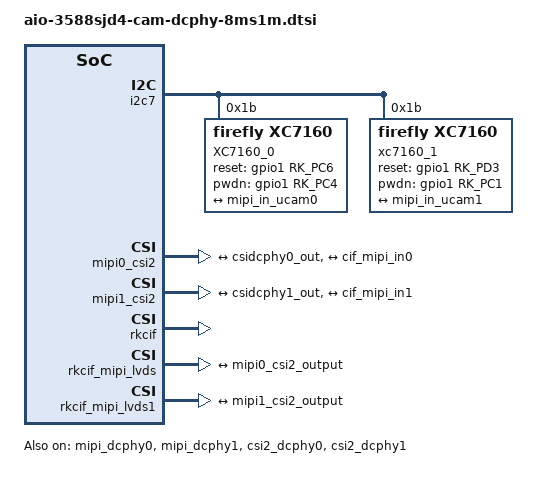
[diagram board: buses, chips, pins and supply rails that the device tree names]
// SPDX-License-Identifier: (GPL-2.0+ OR MIT)
/*
 * Copyright (c) 2021 Rockchip Electronics Co., Ltd.
 *
 */

/ {
	cam_ircut0: cam_ircut {
		status = "disabled";
		compatible = "rockchip,ircut";
		ircut-open-gpios = <&gpio4 RK_PA6 GPIO_ACTIVE_HIGH>;
		ircut-close-gpios  = <&gpio4 RK_PA7 GPIO_ACTIVE_HIGH>;
		rockchip,camera-module-index = <0>;
		rockchip,camera-module-facing = "back";
	};
	vcc_mipidphy0: vcc-mipidcphy0-regulator {
		status = "disabled";
		compatible = "regulator-fixed";
		gpio = <&gpio1 RK_PB1 GPIO_ACTIVE_HIGH>;
		pinctrl-names = "default";
		pinctrl-0 = <&mipidphy0_pwr>;
		regulator-name = "vcc_mipidphy0";
		enable-active-high;
	};
};

&mipi_dcphy0 {
        status = "okay";
};

&mipi_dcphy1 {
        status = "okay";
};

&csi2_dcphy0 {
	status = "okay";

        ports {
                #address-cells = <1>;
                #size-cells = <0>;
                port@0 {
                        reg = <0>;
                        #address-cells = <1>;
                        #size-cells = <0>;

                        mipi_in_ucam0: endpoint@1 {
                                reg = <1>;
                                remote-endpoint = <&xc7160_out0>;
                                data-lanes = <1 2 3 4>;
                        };
                };
                port@1 {
                        reg = <1>;
                        #address-cells = <1>;
                        #size-cells = <0>;

                        csidcphy0_out: endpoint@0 {
                                reg = <0>;
                                remote-endpoint = <&mipi0_csi2_input>;
                        };
                };
        };
};

&csi2_dcphy1 {
        status = "okay";

        ports {
                #address-cells = <1>;
                #size-cells = <0>;
                port@0 {
                        reg = <0>;
                        #address-cells = <1>;
                        #size-cells = <0>;

                        mipi_in_ucam1: endpoint@1 {
                                reg = <1>;
                                remote-endpoint = <&xc7160_out1>;
                                data-lanes = <1 2 3 4>;
                        };
                };
                port@1 {
                        reg = <1>;
                        #address-cells = <1>;
                        #size-cells = <0>;

                        csidcphy1_out: endpoint@0 {
                                reg = <0>;
                                remote-endpoint = <&mipi1_csi2_input>;
                        };
                };
        };
};

&i2c7 {
        status = "okay";
        pinctrl-names = "default";
	pinctrl-0 = <&i2c7m0_xfer>;

        XC7160_0: XC7160-0@1b{
               compatible = "firefly,xc7160";
               reg = <0x1b>;
	       clocks = <&cru CLK_MIPI_CAMARAOUT_M3>;
               clock-names = "xvclk";
               pinctrl-names = "default";
	       pinctrl-0 = <&mipim0_camera3_clk>;
               power-domains = <&power RK3588_PD_VI>;

               reset-gpios = <&gpio1 RK_PC6 GPIO_ACTIVE_HIGH>;
               pwdn-gpios = <&gpio1 RK_PC4 GPIO_ACTIVE_HIGH>;

               //avdd-supply = <&vcc_mipidcphy0>;
               firefly,clkout-enabled-index = <0>;
               rockchip,camera-module-index = <1>;
               rockchip,camera-module-facing = "back";
               rockchip,camera-module-name = "NC";
               rockchip,camera-module-lens-name = "NC";
               port {
                       xc7160_out0: endpoint {
                               remote-endpoint = <&mipi_in_ucam0>;
                               data-lanes = <1 2 3 4>;
                       };
               };
       };
       xc7160_1: xc7160-1@1b {
               compatible = "firefly,xc7160";
               status = "okay";
               reg = <0x1b>;
               clocks = <&cru CLK_MIPI_CAMARAOUT_M4>;
               clock-names = "xvclk";
               pinctrl-names = "default";
               pinctrl-0 = <&mipim0_camera4_clk>;
               power-domains = <&power RK3588_PD_VI>;

               reset-gpios = <&gpio1 RK_PD3 GPIO_ACTIVE_HIGH>;
               pwdn-gpios = <&gpio1 RK_PC1 GPIO_ACTIVE_HIGH>;

               firefly,clkout-enabled-index = <0>;
               rockchip,camera-module-index = <2>;
               rockchip,camera-module-facing = "back";
               rockchip,camera-module-name = "NC";
               rockchip,camera-module-lens-name = "NC";
               port {
                       xc7160_out1: endpoint {
                               remote-endpoint = <&mipi_in_ucam1>;
                               data-lanes = <1 2 3 4>;
                       };
               };
       };

};

&mipi0_csi2 {
        status = "okay";

        ports {
                #address-cells = <1>;
                #size-cells = <0>;

                port@0 {
                        reg = <0>;
                        #address-cells = <1>;
                        #size-cells = <0>;

                        mipi0_csi2_input: endpoint@1 {
                                reg = <1>;
                                remote-endpoint = <&csidcphy0_out>;
                        };
                };

                port@1 {
                        reg = <1>;
                        #address-cells = <1>;
                        #size-cells = <0>;

                        mipi0_csi2_output: endpoint@0 {
                                reg = <0>;
                                remote-endpoint = <&cif_mipi_in0>;
                        };
                };
        };
};

&mipi1_csi2 {
        status = "okay";

        ports {
                #address-cells = <1>;
                #size-cells = <0>;

                port@0 {
                        reg = <0>;
                        #address-cells = <1>;
                        #size-cells = <0>;

                        mipi1_csi2_input: endpoint@1 {
                                reg = <1>;
                                remote-endpoint = <&csidcphy1_out>;
                        };
                };

                port@1 {
                        reg = <1>;
                        #address-cells = <1>;
                        #size-cells = <0>;

                        mipi1_csi2_output: endpoint@0 {
                                reg = <0>;
                                remote-endpoint = <&cif_mipi_in1>;
                        };
                };
        };
};

&pinctrl {
	cam {
		mipidphy0_pwr: mipidphy0-pwr {
			rockchip,pins =
				/* camera power en */
				<1 RK_PB1 RK_FUNC_GPIO &pcfg_pull_none>;
		};
	};
};

&rkcif {
	status = "okay";
};

&rkcif_mipi_lvds {
        status = "okay";

        port {
                cif_mipi_in0: endpoint {
                        remote-endpoint = <&mipi0_csi2_output>;
                };
        };
};

&rkcif_mipi_lvds1 {
        status = "okay";

        port {
                cif_mipi_in1: endpoint {
                        remote-endpoint = <&mipi1_csi2_output>;
                };
        };
};

&rkcif_mmu {
	status = "okay";
};
